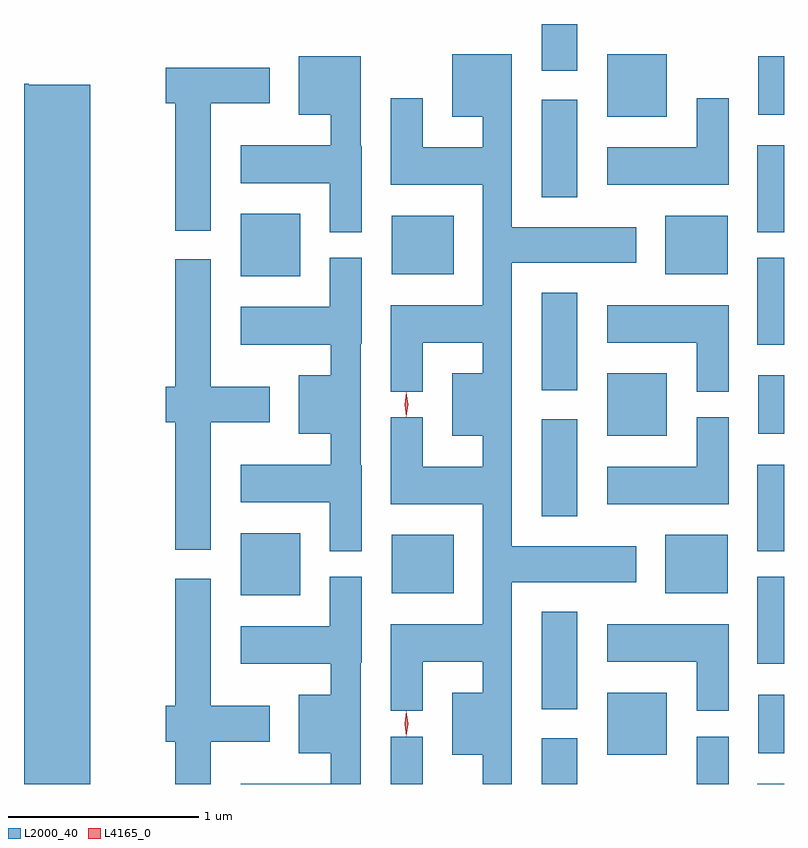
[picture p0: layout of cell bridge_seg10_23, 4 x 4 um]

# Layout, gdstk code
import gdstk
lib = gdstk.Library(unit=1e-6, precision=1e-09)
def R(c, l, rs):  # rectangles x0, y0, x1, y1
    for r in rs: c.add(gdstk.rectangle(r[:2], r[2:], *l))
def A(c, l, x, y, w, h, nx, ny, dx, dy):  # array of equal rectangles
    R(c, l, [(x+i*dx, y+j*dy, x+i*dx+w, y+j*dy+h) for i in range(nx) for j in range(ny)])
def P(c, l, *ps):  # polygons
    for p in ps: c.add(gdstk.Polygon(p, *l))
L2000_40 = (2000, 40)
L4165_0 = (4165, 0)

bridge_seg10_23 = lib.new_cell('bridge_seg10_23')
A(bridge_seg10_23, L2000_40, 1788.721, 2177.406, 0.313, 0.328, 1, 3, 0, 1.68)
A(bridge_seg10_23, L2000_40, 1789.516, 2177.416, 0.135, 0.308, 1, 3, 0, 1.68)
R(bridge_seg10_23, L2000_40, [(1787.581,2177.253,1787.749,2177.503), (1788.376,2177.253,1788.564,2177.494), (1789.191,2177.253,1789.359,2177.503), (1789.511,2177.253,1789.651,2177.254), (1788.376,2177.646,1788.564,2178.159), (1789.511,2177.886,1789.651,2178.343), (1786.791,2178.246,1787.104,2178.574), (1787.586,2178.256,1787.914,2178.564), (1789.026,2178.256,1789.354,2178.564), (1789.511,2178.478,1789.651,2178.934), (1788.376,2178.661,1788.564,2179.174), (1788.376,2179.326,1788.564,2179.839), (1789.511,2179.566,1789.651,2180.023), (1786.791,2179.926,1787.104,2180.254), (1787.586,2179.936,1787.914,2180.244), (1789.026,2179.936,1789.354,2180.244), (1789.511,2180.158,1789.651,2180.614), (1788.376,2180.341,1788.564,2180.854), (1788.376,2181.006,1788.564,2181.253)])
P(bridge_seg10_23, L2000_40, [(1788.219,2178.316),(1788.874,2178.316),(1788.874,2178.504),(1788.219,2178.504),(1788.219,2179.996),(1788.874,2179.996),(1788.874,2180.184),(1788.219,2180.184),(1788.219,2181.094),(1787.906,2181.094),(1787.906,2180.766),(1788.066,2180.766),(1788.066,2180.604),(1787.749,2180.604),(1787.749,2180.863),(1787.581,2180.863),(1787.581,2180.406),(1788.066,2180.406),(1788.066,2179.774),(1787.581,2179.774),(1787.581,2179.318),(1787.749,2179.318),(1787.749,2179.576),(1788.066,2179.576),(1788.066,2179.414),(1787.906,2179.414),(1787.906,2179.086),(1788.066,2179.086),(1788.066,2178.924),(1787.749,2178.924),(1787.749,2179.183),(1787.581,2179.183),(1787.581,2178.726),(1788.066,2178.726),(1788.066,2178.094),(1787.581,2178.094),(1787.581,2177.638),(1787.749,2177.638),(1787.749,2177.896),(1788.066,2177.896),(1788.066,2177.734),(1787.906,2177.734),(1787.906,2177.406),(1788.066,2177.406),(1788.066,2177.253),(1788.219,2177.253)],
  [(1787.429,2180.61),(1787.424,2180.61),(1787.424,2181.084),(1787.096,2181.084),(1787.096,2180.776),(1787.266,2180.776),(1787.266,2180.614),(1786.791,2180.614),(1786.791,2180.416),(1787.261,2180.416),(1787.261,2180.158),(1787.429,2180.158)],
  [(1786.634,2180.836),(1786.944,2180.836),(1786.944,2181.024),(1786.396,2181.024),(1786.396,2180.836),(1786.446,2180.836),(1786.446,2180.166),(1786.634,2180.166)],
  [(1785.999,2180.934),(1785.675,2180.934),(1785.675,2180.939),(1785.651,2180.939),(1785.651,2177.253),(1785.999,2177.253)],
  [(1789.359,2180.863),(1789.191,2180.863),(1789.191,2180.604),(1788.721,2180.604),(1788.721,2180.406),(1789.359,2180.406)],
  [(1787.429,2178.93),(1787.424,2178.93),(1787.424,2179.57),(1787.429,2179.57),(1787.429,2180.023),(1787.261,2180.023),(1787.261,2179.764),(1786.791,2179.764),(1786.791,2179.566),(1787.266,2179.566),(1787.266,2179.404),(1787.096,2179.404),(1787.096,2179.096),(1787.266,2179.096),(1787.266,2178.934),(1786.791,2178.934),(1786.791,2178.736),(1787.261,2178.736),(1787.261,2178.478),(1787.429,2178.478)],
  [(1786.634,2179.156),(1786.944,2179.156),(1786.944,2179.344),(1786.634,2179.344),(1786.634,2180.014),(1786.446,2180.014),(1786.446,2179.344),(1786.396,2179.344),(1786.396,2179.156),(1786.446,2179.156),(1786.446,2178.486),(1786.634,2178.486)],
  [(1789.359,2179.774),(1788.721,2179.774),(1788.721,2179.576),(1789.191,2179.576),(1789.191,2179.318),(1789.359,2179.318)],
  [(1789.359,2179.183),(1789.191,2179.183),(1789.191,2178.924),(1788.721,2178.924),(1788.721,2178.726),(1789.359,2178.726)],
  [(1787.424,2177.89),(1787.429,2177.89),(1787.429,2178.343),(1787.261,2178.343),(1787.261,2178.084),(1786.791,2178.084),(1786.791,2177.886),(1787.266,2177.886),(1787.266,2177.724),(1787.096,2177.724),(1787.096,2177.416),(1787.266,2177.416),(1787.266,2177.254),(1786.791,2177.254),(1786.791,2177.253),(1787.424,2177.253)],
  [(1786.634,2177.476),(1786.944,2177.476),(1786.944,2177.664),(1786.634,2177.664),(1786.634,2178.334),(1786.446,2178.334),(1786.446,2177.664),(1786.396,2177.664),(1786.396,2177.476),(1786.446,2177.476),(1786.446,2177.253),(1786.634,2177.253)],
  [(1789.359,2178.094),(1788.721,2178.094),(1788.721,2177.896),(1789.191,2177.896),(1789.191,2177.638),(1789.359,2177.638)])
P(bridge_seg10_23, L4165_0, [(1787.664,2177.504),(1787.663,2177.505),(1787.654,2177.57),(1787.663,2177.635),(1787.664,2177.636),(1787.664,2177.635),(1787.674,2177.57),(1787.664,2177.505)],
  [(1787.664,2179.184),(1787.663,2179.185),(1787.654,2179.25),(1787.663,2179.315),(1787.664,2179.316),(1787.664,2179.315),(1787.674,2179.25),(1787.664,2179.185)])

lib.write_gds('bridge_seg10_23.gds')
